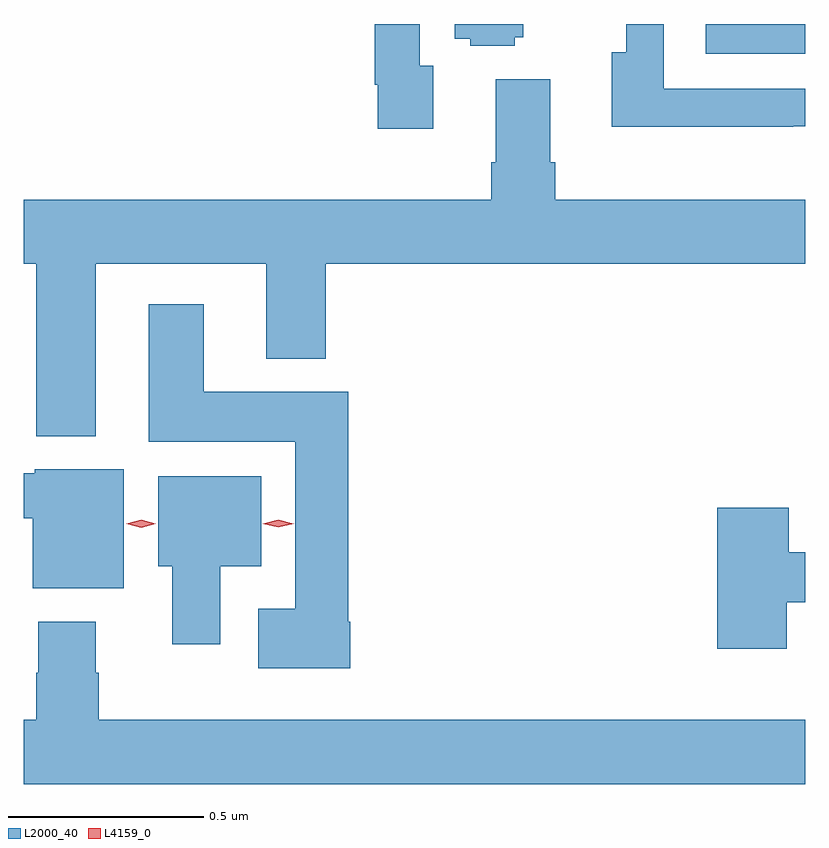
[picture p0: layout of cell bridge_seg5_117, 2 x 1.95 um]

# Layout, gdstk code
import gdstk
lib = gdstk.Library(unit=1e-6, precision=1e-09)
def R(c, l, rs):  # rectangles x0, y0, x1, y1
    for r in rs: c.add(gdstk.rectangle(r[:2], r[2:], *l))
def P(c, l, *ps):  # polygons
    for p in ps: c.add(gdstk.Polygon(p, *l))
L2000_40 = (2000, 40)
L4159_0 = (4159, 0)

bridge_seg5_117 = lib.new_cell('bridge_seg5_117')
R(bridge_seg5_117, L2000_40, [(440.139,895.926,440.393,896.002)])
P(bridge_seg5_117, L2000_40, [(439.65,895.968),(439.672,895.968),(439.672,896.002),(439.496,896.002),(439.496,895.964),(439.536,895.964),(439.536,895.946),(439.65,895.946)],
  [(439.441,895.895),(439.407,895.895),(439.407,896.002),(439.291,896.002),(439.291,895.846),(439.299,895.846),(439.299,895.734),(439.441,895.734)],
  [(440.363,895.74),(440.393,895.74),(440.393,895.836),(440.031,895.836),(440.031,896.002),(439.935,896.002),(439.935,895.93),(439.898,895.93),(439.898,895.739),(440.363,895.739)],
  [(438.577,895.388),(439.013,895.388),(439.013,895.145),(439.166,895.145),(439.166,895.388),(440.393,895.388),(440.393,895.552),(439.754,895.552),(439.754,895.648),(439.741,895.648),(439.741,895.861),(439.601,895.861),(439.601,895.648),(439.589,895.648),(439.589,895.552),(438.393,895.552),(438.393,895.388),(438.425,895.388),(438.425,894.947),(438.577,894.947)],
  [(439.228,894.471),(439.223,894.471),(439.223,895.06),(438.853,895.06),(438.853,895.285),(438.713,895.285),(438.713,894.932),(439.088,894.932),(439.088,894.505),(438.993,894.505),(438.993,894.353),(439.228,894.353)],
  [(438.649,894.862),(438.42,894.862),(438.42,894.852),(438.393,894.852),(438.393,894.736),(438.416,894.736),(438.416,894.557),(438.649,894.557)],
  [(438.895,894.614),(439,894.614),(439,894.844),(438.737,894.844),(438.737,894.614),(438.773,894.614),(438.773,894.414),(438.895,894.414)],
  [(440.346,894.522),(440.393,894.522),(440.393,894.65),(440.351,894.65),(440.351,894.763),(440.168,894.763),(440.168,894.402),(440.346,894.402)],
  [(440.393,894.22),(438.585,894.22),(438.585,894.341),(438.577,894.341),(438.577,894.472),(438.43,894.472),(438.43,894.341),(438.425,894.341),(438.425,894.22),(438.393,894.22),(438.393,894.056),(440.393,894.056)])
P(bridge_seg5_117, L4159_0, [(439.044,894.713),(439.005,894.723),(439.004,894.723),(439.005,894.723),(439.044,894.733),(439.084,894.722),(439.084,894.722),(439.084,894.722)],
  [(438.693,894.712),(438.655,894.722),(438.655,894.722),(438.655,894.722),(438.693,894.732),(438.731,894.722),(438.731,894.722),(438.731,894.722)])

lib.write_gds('bridge_seg5_117.gds')
